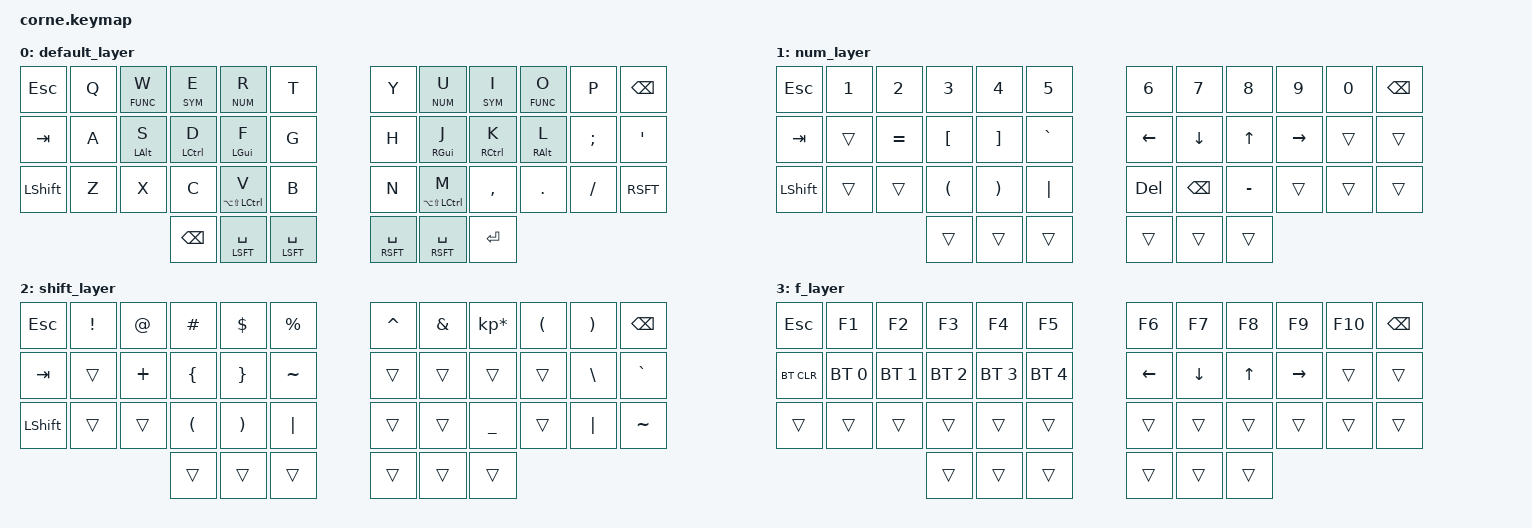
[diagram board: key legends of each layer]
/*
 * Copyright (c) 2020 The ZMK Contributors
 *
 * SPDX-License-Identifier: MIT
 */

#include <behaviors.dtsi>
#include <dt-bindings/zmk/bt.h>
#include <dt-bindings/zmk/keys.h>

#define DEFAULT 0
#define NUM 1
#define SYM 2
#define FUNC 3

/ {
    behaviors {
        hm: homerow_mods {
            compatible = "zmk,behavior-hold-tap";
            label = "HOMEROW_MODS";
            #binding-cells = <2>;
            tapping-term-ms = <150>;
            quick-tap-ms = <0>;
            flavor = "tap-preferred";
            bindings = <&kp>, <&kp>;

            require-prior-idle-ms = <50>;
        };
    };

    // -----------------------------------------------------------------------------------------
    // |  0   |  1  |  2  |  3  |  4  |  5  |   |  6  |  7   |  8  |  9  |  10 | 11   |
    // | TAB  |  A  |  S  |  D  |  F  |  G  |   |  H  |  J   |  K  |  L  |  ;  |  '   |
    // | SHFT |  Z  |  X  |  C  |  V  |  B  |   |  N  |  M   |  ,  |  .  |  /  | ESC  |
    //                    | GUI | 37  | 38  |   |  39 |  40  | ALT |

    combos {
        compatible = "zmk,combos";

        combo_esc {
            timeout-ms = <50>;
            key-positions = <2 3>;
            bindings = <&kp ESC>;
        };

        combo_tab {
            timeout-ms = <50>;
            key-positions = <3 4>;
            bindings = <&kp TAB>;
        };

        combo_caps_word {
            timeout-ms = <50>;
            key-positions = <4 5>;
            bindings = <&caps_word>;
        };

        combo_ret {
            timeout-ms = <50>;
            key-positions = <8 9>;
            bindings = <&kp RET>;
        };

        combo_l_bootloader {
            timeout-ms = <50>;
            key-positions = <0 1 4 5>;
            bindings = <&bootloader>;
        };

        combo_r_bootloader {
            timeout-ms = <50>;
            key-positions = <6 7 10 11>;
            bindings = <&bootloader>;
        };
    };

    keymap {
        compatible = "zmk,keymap";

        default_layer {
            // -----------------------------------------------------------------------------------------
            // |  ESC |  Q  |  W  |  E  |  R  |  T  |   |  Y  |  U   |  I  |  O  |  P  | BKSP |
            // | TAB  |  A  |  S  |  D  |  F  |  G  |   |  H  |  J   |  K  |  L  |  ;  |  '   |
            // | SHFT |  Z  |  X  |  C  |  V  |  B  |   |  N  |  M   |  ,  |  .  |  /  | ESC  |
            //                    | GUI | NUM |  SPC |   | SPC | SYM | ALT |

            bindings = <
&kp ESC    &kp Q  &lt FUNC W  &lt SYM E    &lt NUM R            &kp T             &kp Y           &lt NUM U            &lt SYM I    &lt FUNC O  &kp P     &kp BSPC
&kp TAB    &kp A  &hm LALT S  &hm LCTRL D  &hm LEFT_GUI F       &kp G             &kp H           &hm RGUI J           &hm RCTRL K  &hm RALT L  &kp SEMI  &kp SQT
&kp LSHFT  &kp Z  &kp X       &kp C        &mt LA(LS(LCTRL)) V  &kp B             &kp N           &mt LA(LS(LCTRL)) M  &kp COMMA    &kp DOT     &kp FSLH  &kp RSFT
                              &kp BSPC     &mt LSFT SPACE       &hm LSFT SPACE    &mt RSFT SPACE  &mt RSFT SPACE       &kp RET
            >;
        };

        num_layer {
            // -----------------------------------------------------------------------------------------
            // |  ESC |  1  |  2  |  3  |  4  |  5  |   |  6  |  7  |  8  |  9  |  0  | BKSP |
            // | BTCLR|     |  =  |  [  |  ]  |  `  |   | LFT | DWN |  UP | RGT |     |      |
            // | SHFT |     |     |  (  |  )  |  |  |   | DEL | BKSP|  -  |     |     |      |
            //                    | GUI |     | SPC |   | ENT |     | ALT |

            bindings = <
&kp ESC    &kp N1  &kp N2     &kp N3    &kp N4    &kp N5       &kp N6    &kp N7    &kp N8     &kp N9     &kp N0  &kp BSPC
&kp TAB    &trans  &kp EQUAL  &kp LBKT  &kp RBKT  &kp GRAVE    &kp LEFT  &kp DOWN  &kp UP     &kp RIGHT  &trans  &trans
&kp LSHFT  &trans  &trans     &kp LPAR  &kp RPAR  &kp PIPE     &kp DEL   &kp BSPC  &kp MINUS  &trans     &trans  &trans
                              &trans    &trans    &trans       &trans    &trans    &trans
            >;
        };

        shift_layer {
            // -----------------------------------------------------------------------------------------
            // | ESC  |  !  |  @  |  #  |  $  |  %  |   |  ^  |  &  |  *  |  (  |  )  | BKSP |
            // | TAB  |     |  +  |  {  |  }  |  ~  |   |     |     |     |     |  \  |  `   |
            // | SHFT |     |     |  (  |  )  | "|" |   |     |     |  _  |     | "|" |  ~   |
            //                    | GUI |     | SPC |   | ENT |     | ALT |

            bindings = <
&kp ESC    &kp EXCL  &kp AT    &kp HASH  &kp DLLR  &kp PRCNT    &kp CARET  &kp AMPS  &kp KP_MULTIPLY  &kp LPAR  &kp RPAR  &kp BSPC
&kp TAB    &trans    &kp PLUS  &kp LBRC  &kp RBRC  &kp TILDE    &trans     &trans    &trans           &trans    &kp BSLH  &kp GRAVE
&kp LSHFT  &trans    &trans    &kp LPAR  &kp RPAR  &kp PIPE     &trans     &trans    &kp UNDER        &trans    &kp PIPE  &kp TILDE
                               &trans    &trans    &trans       &trans     &trans    &trans
            >;
        };

        f_layer {
            // -----------------------------------------------------------------------------------------
            // | ESC  | F1  | F2  | F3  | F4  | F5  |   | F6  | F7  | F8  | F9  | F10 | BKSP |
            // | BTCLR| BT1 | BT2 | BT3 | BT4 | BT5 |   | LFT | DWN |  UP | RGT |     |      |
            // | SHFT |     |     |     |     |     |   |     |     |     |     |     |      |
            //                    |     |     |     |   |     |     |     |

            bindings = <
&kp ESC     &kp F1        &kp F2        &kp F3        &kp F4        &kp F5          &kp F6    &kp F7    &kp F8  &kp F9     &kp F10  &kp BSPC
&bt BT_CLR  &bt BT_SEL 0  &bt BT_SEL 1  &bt BT_SEL 2  &bt BT_SEL 3  &bt BT_SEL 4    &kp LEFT  &kp DOWN  &kp UP  &kp RIGHT  &trans   &trans
&trans      &trans        &trans        &trans        &trans        &trans          &trans    &trans    &trans  &trans     &trans   &trans
                                        &trans        &trans        &trans          &trans    &trans    &trans
            >;
        };
    };
};
